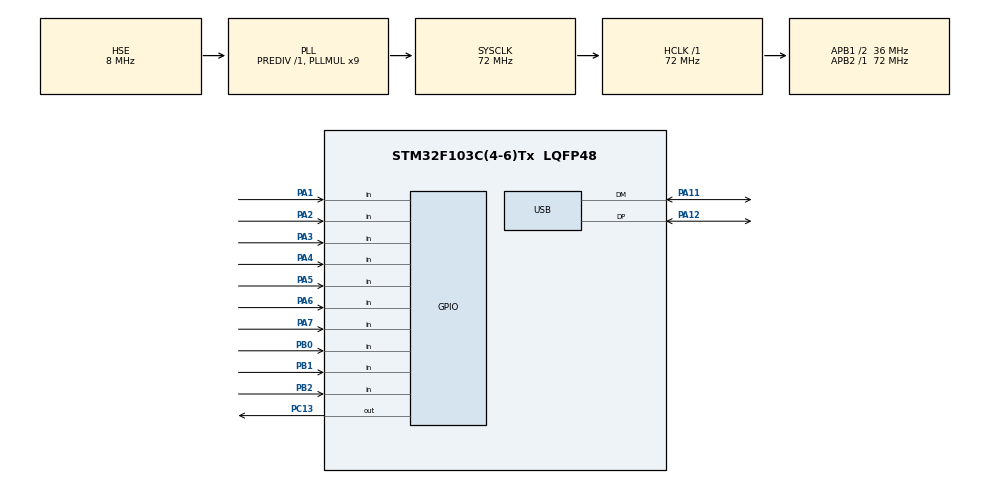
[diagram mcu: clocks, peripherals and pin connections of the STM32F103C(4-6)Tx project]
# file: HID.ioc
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Mcu.Family=STM32F1
Mcu.Name=STM32F103C(4-6)Tx
Mcu.Package=LQFP48
NVIC.PriorityGroup=NVIC_PRIORITYGROUP_4
NVIC.USB_LP_CAN1_RX0_IRQn=true\:0\:0\:false\:false\:true\:false\:true\:true
PA1.GPIO_PuPd=GPIO_PULLDOWN
PA1.Signal=GPIO_Input
PA11.Mode=Device
PA11.Signal=USB_DM
PA12.Mode=Device
PA12.Signal=USB_DP
PA13.Mode=Serial_Wire
PA13.Signal=SYS_JTMS-SWDIO
PA14.Mode=Serial_Wire
PA14.Signal=SYS_JTCK-SWCLK
PA2.GPIO_PuPd=GPIO_PULLDOWN
PA2.Signal=GPIO_Input
PA3.GPIO_PuPd=GPIO_PULLDOWN
PA3.Signal=GPIO_Input
PA4.GPIO_PuPd=GPIO_PULLDOWN
PA4.Signal=GPIO_Input
PA5.GPIO_PuPd=GPIO_PULLDOWN
PA5.Signal=GPIO_Input
PA6.GPIO_PuPd=GPIO_PULLDOWN
PA6.Signal=GPIO_Input
PA7.GPIO_PuPd=GPIO_PULLDOWN
PA7.Signal=GPIO_Input
PB0.GPIO_PuPd=GPIO_PULLDOWN
PB0.Signal=GPIO_Input
PB1.GPIO_PuPd=GPIO_PULLDOWN
PB1.Signal=GPIO_Input
PB2.GPIO_PuPd=GPIO_PULLDOWN
PB2.Signal=GPIO_Input
PC13-TAMPER-RTC.GPIO_Speed=GPIO_SPEED_FREQ_HIGH
PC13-TAMPER-RTC.PinState=GPIO_PIN_SET
PC13-TAMPER-RTC.Signal=GPIO_Output
PD0-OSC_IN.Mode=HSE-External-Oscillator
PD0-OSC_IN.Signal=RCC_OSC_IN
PD1-OSC_OUT.Mode=HSE-External-Oscillator
PD1-OSC_OUT.Signal=RCC_OSC_OUT
ProjectManager.HeapSize=0x200
ProjectManager.StackSize=0x400
ProjectManager.TargetToolchain=MDK-ARM V5.32
RCC.AHBFreq_Value=72000000
RCC.APB1CLKDivider=RCC_HCLK_DIV2
RCC.APB1Freq_Value=36000000
RCC.APB1TimFreq_Value=72000000
RCC.APB2Freq_Value=72000000
RCC.APB2TimFreq_Value=72000000
RCC.HCLKFreq_Value=72000000
RCC.PLLMUL=RCC_PLL_MUL9
RCC.SYSCLKFreq_VALUE=72000000
RCC.SYSCLKSource=RCC_SYSCLKSOURCE_PLLCLK
RCC.USBFreq_Value=48000000
RCC.USBPrescaler=RCC_USBCLKSOURCE_PLL_DIV1_5
TIM2.Period=4999
TIM2.Prescaler=71
USB_DEVICE.CLASS_NAME_FS=CUSTOM_HID
USB_DEVICE.MANUFACTURER_STRING=Nanoka-Keyboard
USB_DEVICE.USBD_CUSTOMHID_OUTREPORT_BUF_SIZE=64
USB_DEVICE.USBD_CUSTOM_HID_REPORT_DESC_SIZE=23
USB_DEVICE.USBD_MAX_NUM_CONFIGURATION=1
USB_DEVICE.USBD_MAX_NUM_INTERFACES=1
USB_DEVICE.USBD_SELF_POWERED=1
USB_DEVICE.VirtualMode=CustomHid
USB_DEVICE.VirtualModeFS=Custom_Hid_FS
VP_TIM2_VS_ClockSourceINT.Mode=Internal
VP_USB_DEVICE_VS_USB_DEVICE_CUSTOM_HID_FS.Mode=CUSTOM_HID_FS
board=custom

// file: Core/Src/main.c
/* USER CODE BEGIN Header */
/**
  ******************************************************************************
  * @file           : main.c
  * @brief          : Main program body
  ******************************************************************************
  * @attention
  *
  * Copyright (c) 2024 STMicroelectronics.
  * All rights reserved.
  *
  * This software is licensed under terms that can be found in the LICENSE file
  * in the root directory of this software component.
  * If no LICENSE file comes with this software, it is provided AS-IS.
  *
  ******************************************************************************
  */
/* USER CODE END Header */
#include "main.h"
#include "tim.h"
#include "usb_device.h"
#include "gpio.h"

/* USER CODE BEGIN Includes */

#include "usbd_customhid.h"
extern USBD_HandleTypeDef hUsbDeviceFS;

/* USER CODE END Includes */

void SystemClock_Config(void);

int main(void)
{

  /* MCU Configuration--------------------------------------------------------*/

  /* Reset of all peripherals, Initializes the Flash interface and the Systick. */
  HAL_Init();

  /* Configure the system clock */
  SystemClock_Config();

  /* Initialize all configured peripherals */
  MX_GPIO_Init();
  MX_TIM2_Init();
  MX_USB_DEVICE_Init();
  /* USER CODE BEGIN 2 */

  HAL_GPIO_WritePin(GPIOC, GPIO_PIN_13, GPIO_PIN_RESET);

  /* USER CODE END 2 */

  /* Infinite loop */
  while (1)
  {

    /* USER CODE BEGIN 3 */

	uint8_t report[1] = {0x00};

	HAL_GPIO_WritePin(GPIOA, GPIO_PIN_4, GPIO_PIN_RESET);

	if(HAL_GPIO_ReadPin(GPIOA, GPIO_PIN_1) != 0)
		report[0] |= 0x1;
	if(HAL_GPIO_ReadPin(GPIOA, GPIO_PIN_2) != 0)
		report[0] |= 0x2;
	if(HAL_GPIO_ReadPin(GPIOA, GPIO_PIN_3) != 0)
		report[0] |= 0x4;
	if(HAL_GPIO_ReadPin(GPIOA, GPIO_PIN_4) != 0)
		report[0] |= 0x8;

	USBD_CUSTOM_HID_SendReport(&hUsbDeviceFS, report, 1);

	HAL_Delay(5);
  }
  /* USER CODE END 3 */
}

void SystemClock_Config(void)
{
  RCC_OscInitTypeDef RCC_OscInitStruct = {0};
  RCC_ClkInitTypeDef RCC_ClkInitStruct = {0};
  RCC_PeriphCLKInitTypeDef PeriphClkInit = {0};

  /** Initializes the RCC Oscillators according to the specified parameters
  * in the RCC_OscInitTypeDef structure.
  */
  RCC_OscInitStruct.OscillatorType = RCC_OSCILLATORTYPE_HSE;
  RCC_OscInitStruct.HSEState = RCC_HSE_ON;
  RCC_OscInitStruct.HSEPredivValue = RCC_HSE_PREDIV_DIV1;
  RCC_OscInitStruct.HSIState = RCC_HSI_ON;
  RCC_OscInitStruct.PLL.PLLState = RCC_PLL_ON;
  RCC_OscInitStruct.PLL.PLLSource = RCC_PLLSOURCE_HSE;
  RCC_OscInitStruct.PLL.PLLMUL = RCC_PLL_MUL9;
  if (HAL_RCC_OscConfig(&RCC_OscInitStruct) != HAL_OK)
  {
    Error_Handler();
  }

  /** Initializes the CPU, AHB and APB buses clocks
  */
  RCC_ClkInitStruct.ClockType = RCC_CLOCKTYPE_HCLK|RCC_CLOCKTYPE_SYSCLK
                              |RCC_CLOCKTYPE_PCLK1|RCC_CLOCKTYPE_PCLK2;
  RCC_ClkInitStruct.SYSCLKSource = RCC_SYSCLKSOURCE_PLLCLK;
  RCC_ClkInitStruct.AHBCLKDivider = RCC_SYSCLK_DIV1;
  RCC_ClkInitStruct.APB1CLKDivider = RCC_HCLK_DIV2;
  RCC_ClkInitStruct.APB2CLKDivider = RCC_HCLK_DIV1;

  if (HAL_RCC_ClockConfig(&RCC_ClkInitStruct, FLASH_LATENCY_2) != HAL_OK)
  {
    Error_Handler();
  }
  PeriphClkInit.PeriphClockSelection = RCC_PERIPHCLK_USB;
  PeriphClkInit.UsbClockSelection = RCC_USBCLKSOURCE_PLL_DIV1_5;
  if (HAL_RCCEx_PeriphCLKConfig(&PeriphClkInit) != HAL_OK)
  {
    Error_Handler();
  }
}

void Error_Handler(void)
{
  /* USER CODE BEGIN Error_Handler_Debug */
  /* User can add his own implementation to report the HAL error return state */
  __disable_irq();
  HAL_GPIO_WritePin(GPIOC, GPIO_PIN_13, GPIO_PIN_SET);
  while (1)
  {
  }
  /* USER CODE END Error_Handler_Debug */
}
